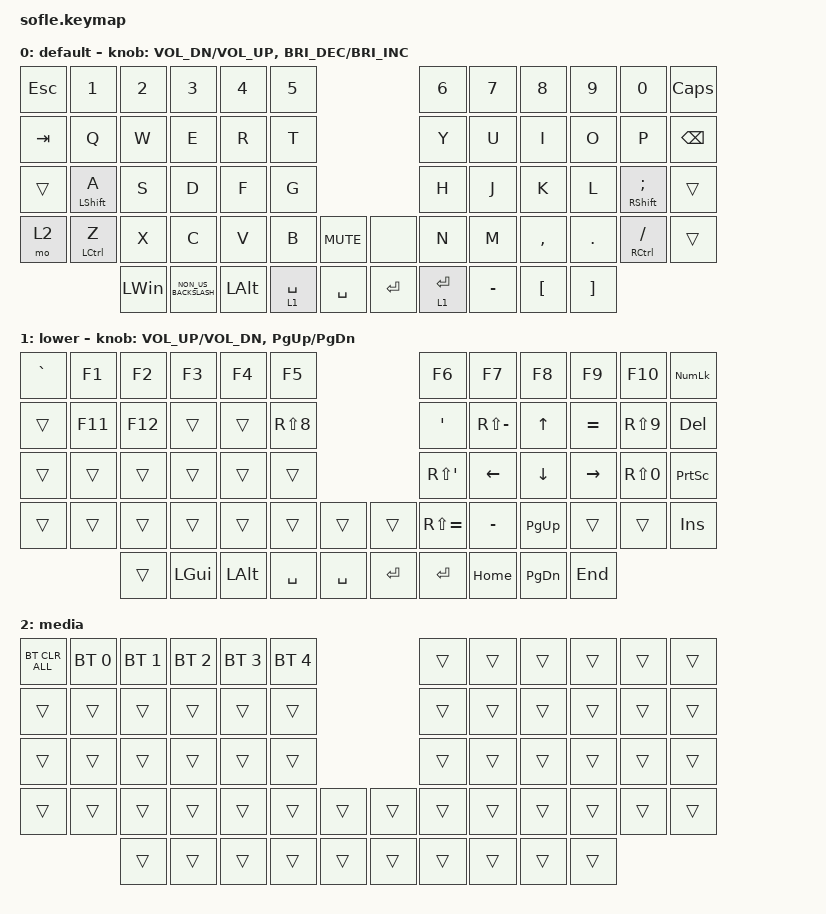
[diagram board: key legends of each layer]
/*
 * Copyright (c) 2020 The ZMK Contributors
 *
 * SPDX-License-Identifier: MIT
 */

#include <behaviors.dtsi>
#include <dt-bindings/zmk/bt.h>
#include <dt-bindings/zmk/keys.h>

#define BASE 0
#define LOWER 1
#define RAISE 2
#define ADJUST 3

/ {
    // Activate ADJUST layer by pressing raise and lower

    conditional_layers { compatible = "zmk,conditional-layers"; };

    behaviors {
        custom_layertap: custom_layertap {
            compatible = "zmk,behavior-hold-tap";
            label = "CUSTOM_LAYERTAP";
            bindings = <&mo>, <&kp>;

            #binding-cells = <2>;
            tapping-term-ms = <150>;
            quick-tap-ms = <0>;
            hold-while-undecided;
        };

        homerow_right: homerow_right {
            compatible = "zmk,behavior-hold-tap";
            label = "HOMEROW_RIGHT";
            bindings = <&kp>, <&kp>;

            #binding-cells = <2>;
            tapping-term-ms = <280>;
            quick-tap-ms = <175>;
            flavor = "balanced";
            hold-trigger-key-positions = <6 10 11 18 19 20 21 22 23 30 31 32 33 34 35 44 45 46 47 48 49 57 58 59 7 8 9 1 2 3 4 5 0 52 51 50 12 24 36>;
            require-prior-idle-ms = <150>;
            hold-trigger-on-release;
        };

        homerow_left: homerow_left {
            compatible = "zmk,behavior-hold-tap";
            label = "HOMEROW_LEFT";
            bindings = <&kp>, <&kp>;

            #binding-cells = <2>;
            tapping-term-ms = <280>;
            quick-tap-ms = <175>;
            flavor = "balanced";
            hold-trigger-key-positions = <0 1 5 12 13 14 15 16 17 24 25 26 27 28 29 36 37 38 39 40 41 50 51 52 4 3 2 6 7 8 9 10 11 23 35 49 57 58 59>;
            require-prior-idle-ms = <150>;
            hold-trigger-on-release;
        };

        custom_modtap: custom_modtap {
            compatible = "zmk,behavior-hold-tap";
            label = "CUSTOM_MODTAP";
            bindings = <&kp>, <&kp>;

            #binding-cells = <2>;
            tapping-term-ms = <200>;
            quick-tap-ms = <175>;
            require-prior-idle-ms = <150>;
            flavor = "balanced";
            hold-trigger-on-release;
        };
    };

    keymap {
        compatible = "zmk,keymap";

        default_layer {
            label = "default";

            // ------------------------------------------------------------------------------------------------------------
            // |   `   |  1  |  2  |  3   |  4   |  5   |                   |  6   |  7    |  8    |  9   |   0   |       |
            // |  ESC  |  Q  |  W  |  E   |  R   |  T   |                   |  Y   |  U    |  I    |  O   |   P   | BKSPC |
            // |  TAB  |  A  |  S  |  D   |  F   |  G   |                   |  H   |  J    |  K    |  L   |   ;   |   '   |
            // | SHIFT |  Z  |  X  |  C   |  V   |  B   |  MUTE  |  |       |  N   |  M    |  ,    |  .   |   /   | SHIFT |
            //               | GUI | ALT  | CTRL | LOWER|  ENTER |  | SPACE | RAISE| CTRL  | ALT   | GUI  |

            bindings = <
&kp ESC  &kp N1                       &kp N2        &kp N3                &kp N4    &kp N5                                             &kp N6                    &kp N7     &kp N8            &kp N9             &kp N0                                &kp CAPS
&kp TAB  &kp Q                        &kp W         &kp E                 &kp R     &kp T                                              &kp Y                     &kp U      &kp I             &kp O              &kp P                                 &kp BSPC
&trans   &custom_modtap LEFT_SHIFT A  &kp S         &kp D                 &kp F     &kp G                                              &kp H                     &kp J      &kp K             &kp L              &custom_modtap RIGHT_SHIFT SEMICOLON  &trans
&mo 2    &custom_modtap LCTRL Z       &kp X         &kp C                 &kp V     &kp B                     &kp C_MUTE    &none      &kp N                     &kp M      &kp COMMA         &kp PERIOD         &custom_modtap RCTRL SLASH            &trans
                                      &kp LEFT_WIN  &kp NON_US_BACKSLASH  &kp LALT  &custom_layertap 1 SPACE  &kp SPACE     &kp ENTER  &custom_layertap 1 ENTER  &kp MINUS  &kp LEFT_BRACKET  &kp RIGHT_BRACKET
            >;

            sensor-bindings =
                <&inc_dec_kp C_VOL_DN C_VOL_UP>,
                <&inc_dec_kp C_BRIGHTNESS_DEC C_BRIGHTNESS_INC>;
        };

        lower {
            label = "lower";
            bindings = <
&kp GRAVE  &kp F1   &kp F2   &kp F3    &kp F4    &kp F5                                    &kp F6         &kp F7          &kp F8          &kp F9           &kp F10           &kp KP_NUMLOCK
&trans     &kp F11  &kp F12  &trans    &trans    &kp RS(NUMBER_8)                          &kp SQT        &kp RS(MINUS)   &kp UP_ARROW    &kp EQUAL        &kp RS(NUMBER_9)  &kp DEL
&trans     &trans   &trans   &trans    &trans    &trans                                    &kp RS(SQT)    &kp LEFT_ARROW  &kp DOWN_ARROW  &kp RIGHT_ARROW  &kp RS(NUMBER_0)  &kp PRINTSCREEN
&trans     &trans   &trans   &trans    &trans    &trans            &trans       &trans     &kp RS(EQUAL)  &kp MINUS       &kp PG_UP       &trans           &trans            &kp INS
                    &trans   &kp LGUI  &kp LALT  &kp SPACE         &kp SPACE    &kp ENTER  &kp ENTER      &kp HOME        &kp PAGE_DOWN   &kp END
            >;

            sensor-bindings =
                <&inc_dec_kp C_VOL_UP C_VOL_DN>,
                <&inc_dec_kp PG_UP PG_DN>;
        };

        media {
            bindings = <
&bt BT_CLR_ALL  &bt BT_SEL 0  &bt BT_SEL 1  &bt BT_SEL 2  &bt BT_SEL 3  &bt BT_SEL 4                    &trans  &trans  &trans  &trans  &trans  &trans
&trans          &trans        &trans        &trans        &trans        &trans                          &trans  &trans  &trans  &trans  &trans  &trans
&trans          &trans        &trans        &trans        &trans        &trans                          &trans  &trans  &trans  &trans  &trans  &trans
&trans          &trans        &trans        &trans        &trans        &trans        &trans    &trans  &trans  &trans  &trans  &trans  &trans  &trans
                              &trans        &trans        &trans        &trans        &trans    &trans  &trans  &trans  &trans  &trans
            >;
        };
    };
};
